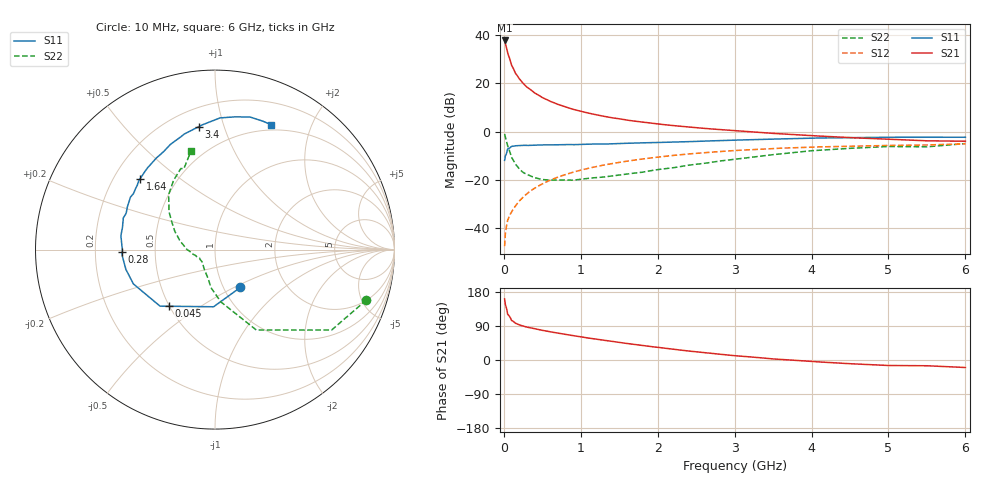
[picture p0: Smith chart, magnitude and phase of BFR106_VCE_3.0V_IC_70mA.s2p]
! Infineon Technologies  Discrete & RF Semiconductors
! BFR106
! VCE =  3.0 V,  IC =  70 mA
! Common Emitter S-Parameters:  Nov 2015
# GHz  S  MA  R  50
!  f  S11  S21  S12  S22
! GHz  MAG  ANG  MAG  ANG  MAG  ANG  MAG  ANG
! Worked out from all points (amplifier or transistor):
!   210 points, 10 MHz to 6 GHz, reference 50 ohm
!   highest |S21| = 37.8 dB at 10 MHz (marker M1)
!   |S21| within 3 dB of that: start of sweep to 33.53 MHz
!   unconditionally stable (mu >= 1): 198.9 MHz to 2.526 GHz; 5.477 GHz to end of sweep
!   at 185 MHz: K = 0.98, MSG = 26.1 dB, |S12| = -29.4 dB
!   at 1.52 GHz: K = 1.05, MAG = 7.5 dB, |S12| = -12.7 dB
!   at 6 GHz: K = 1.00, MAG = 0.4 dB, |S12| = -5.1 dB
!   S11 on the Smith chart (normalised r, x): 10 MHz: 1.20, -0.54; 45 MHz: 0.50, -0.38; 280 MHz: 0.32, -0.01; 1.64 GHz: 0.31, +0.36; 3.4 GHz: 0.32, +0.83; 6 GHz: 0.44, +1.46
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0.01  0.2538 -56.1  77.7 161.0  0.0042 77.7  0.8893 -18.4
0.02  0.3186 -91.4  67.72 146.0  0.0077 67.2  0.7892 -34.6
0.045  0.4067 -129.1  45.7 126.6  0.0134 61.9  0.5393 -56.2
0.05  0.4394 -134.2  42.3 120.5  0.0145 61.3  0.5038 -62.8
0.1  0.4933 -157.2  23.99 104.5  0.0215 64.2  0.2931 -83.6
0.15  0.5086 -167.5  16.39 97.1  0.0285 67.1  0.2128 -96.1
0.2  0.5124 -172.5  12.51 92.7  0.0361 70.1  0.1682 -102.8
0.24  0.5175 -175.9  10.5 90.1  0.0419 70.9  0.1469 -109.0
0.28  0.5171 -178.5  9.023 87.9  0.0482 72.0  0.1344 -114.2
0.3  0.516 -179.7  8.376 86.7  0.0514 72.5  0.1296 -116.6
0.4  0.5219 175.2  6.342 82.4  0.0669 73.2  0.1107 -126.5
0.5  0.53 171.6  5.086 78.3  0.0821 72.6  0.1013 -133.4
0.6  0.5291 167.3  4.269 74.5  0.0979 71.8  0.0987 -138.2
0.7  0.5342 163.7  3.684 70.8  0.1131 70.9  0.0995 -143.3
1.02  0.5441 153.4  2.587 60.5  0.1615 66.5  0.1037 -154.8
1.64  0.5746 136.6  1.696 42.6  0.2488 56.7  0.1345 -173.3
2.02  0.5957 126.7  1.429 32.9  0.2977 50.6  0.1642 176.7
3.1  0.6716 102.9  1.016 9.9  0.4123 33.1  0.2779 148.8
3.4  0.6909 97.5  0.941 4.7  0.4378 28.5  0.3181 142.3
4.1  0.7363 86.5  0.808 -5.1  0.4812 18.2  0.4095 128.1
5.1  0.7634 74.1  0.684 -14.6  0.5177 6.0  0.4888 112.5
6  0.763 65.8  0.631 -19.8  0.5579 -3.3  0.564 103.7
